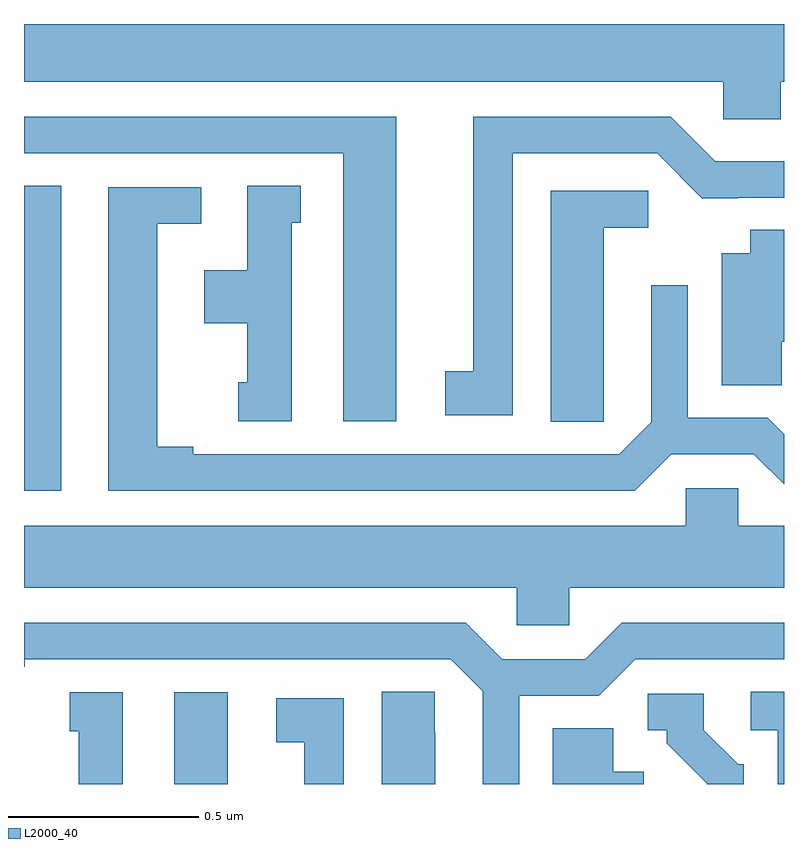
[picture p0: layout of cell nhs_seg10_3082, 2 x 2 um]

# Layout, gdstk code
import gdstk
lib = gdstk.Library(unit=1e-6, precision=1e-09)
def R(c, l, rs):  # rectangles x0, y0, x1, y1
    for r in rs: c.add(gdstk.rectangle(r[:2], r[2:], *l))
def P(c, l, *ps):  # polygons
    for p in ps: c.add(gdstk.Polygon(p, *l))
L2000_40 = (2000, 40)

nhs_seg10_3082 = lib.new_cell('nhs_seg10_3082')
R(nhs_seg10_3082, L2000_40, [(149.396,1266.5,149.536,1266.742), (149,1267.272,149.098,1268.075)])
P(nhs_seg10_3082, L2000_40, [(150.992,1268.348),(151,1268.348),(151,1268.5),(149,1268.5),(149,1268.348),(150.84,1268.348),(150.84,1268.25),(150.992,1268.25)],
  [(149.98,1268.256),(149,1268.256),(149,1268.16),(149.84,1268.16),(149.84,1267.455),(149.98,1267.455)],
  [(150.286,1268.16),(150.666,1268.16),(150.784,1268.042),(150.88,1268.042),(150.88,1268.043),(151,1268.043),(151,1268.139),(150.819,1268.139),(150.702,1268.256),(150.182,1268.256),(150.182,1267.586),(150.108,1267.586),(150.108,1267.47),(150.286,1267.47)],
  [(149.704,1267.977),(149.728,1267.977),(149.728,1268.075),(149.588,1268.075),(149.588,1267.852),(149.474,1267.852),(149.474,1267.712),(149.588,1267.712),(149.588,1267.557),(149.564,1267.557),(149.564,1267.455),(149.704,1267.455)],
  [(150.703,1267.368),(150.921,1267.368),(151,1267.289),(151,1267.421),(150.957,1267.464),(150.747,1267.464),(150.747,1267.813),(150.651,1267.813),(150.651,1267.452),(150.567,1267.368),(149.446,1267.368),(149.446,1267.388),(149.35,1267.388),(149.35,1267.974),(149.467,1267.974),(149.467,1268.07),(149.222,1268.07),(149.222,1267.272),(150.607,1267.272)],
  [(150.525,1267.561),(150.526,1267.561),(150.526,1267.964),(150.643,1267.964),(150.643,1268.061),(150.386,1268.061),(150.386,1267.453),(150.525,1267.453)],
  [(150.994,1267.664),(151,1267.664),(151,1267.958),(150.911,1267.958),(150.911,1267.897),(150.836,1267.897),(150.836,1267.549),(150.994,1267.549)],
  [(150.435,1267.016),(151,1267.016),(151,1267.18),(150.879,1267.18),(150.879,1267.278),(150.741,1267.278),(150.741,1267.18),(149,1267.18),(149,1267.016),(150.297,1267.016),(150.297,1266.918),(150.435,1266.918)],
  [(150.303,1266.732),(150.513,1266.732),(150.609,1266.828),(151,1266.828),(151,1266.924),(150.573,1266.924),(150.477,1266.828),(150.259,1266.828),(150.163,1266.924),(149,1266.924),(149,1266.808),(149.002,1266.808),(149.002,1266.828),(150.123,1266.828),(150.207,1266.744),(150.207,1266.5),(150.303,1266.5)],
  [(150.082,1266.635),(150.081,1266.635),(150.081,1266.743),(149.942,1266.743),(149.942,1266.5),(150.082,1266.5)],
  [(151,1266.743),(150.912,1266.743),(150.912,1266.642),(150.984,1266.642),(150.984,1266.5),(151,1266.5)],
  [(149.26,1266.742),(149.12,1266.742),(149.12,1266.639),(149.144,1266.639),(149.144,1266.5),(149.26,1266.5)],
  [(150.894,1266.552),(150.879,1266.552),(150.789,1266.642),(150.789,1266.738),(150.642,1266.738),(150.642,1266.642),(150.692,1266.642),(150.692,1266.607),(150.797,1266.502),(150.797,1266.5),(150.894,1266.5)],
  [(149.842,1266.726),(149.664,1266.726),(149.664,1266.61),(149.738,1266.61),(149.738,1266.5),(149.842,1266.5)],
  [(150.631,1266.532),(150.55,1266.532),(150.55,1266.647),(150.392,1266.647),(150.392,1266.5),(150.631,1266.5)])

lib.write_gds('nhs_seg10_3082.gds')
